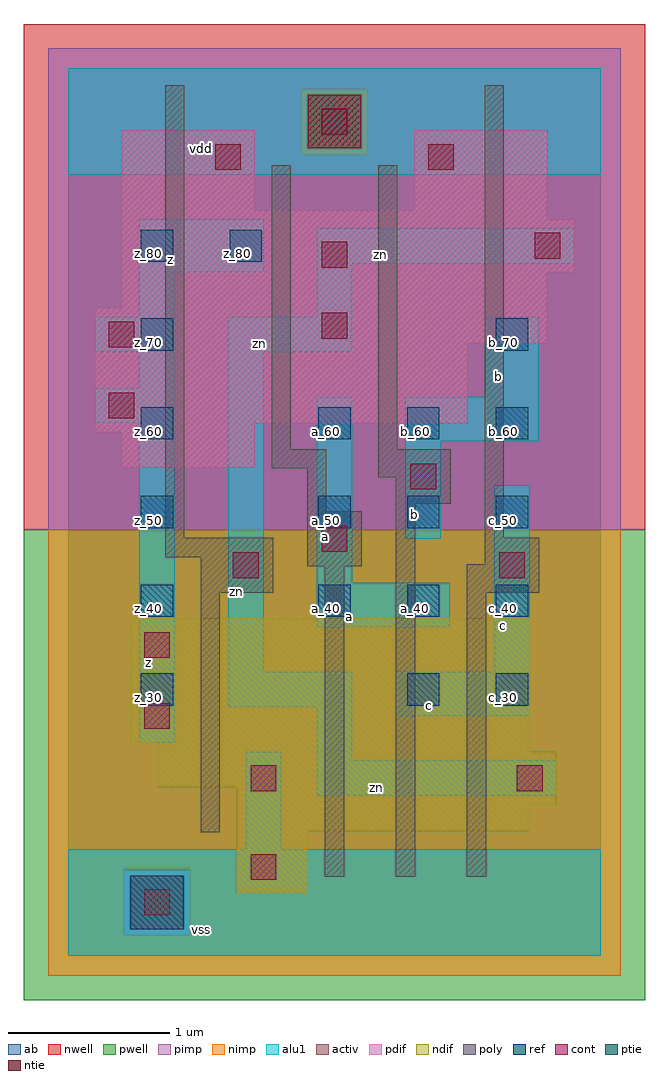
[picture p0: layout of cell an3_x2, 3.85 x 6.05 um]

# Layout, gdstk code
import gdstk
lib = gdstk.Library(unit=1e-6, precision=2.5e-09)
def R(c, l, rs):  # rectangles x0, y0, x1, y1
    for r in rs: c.add(gdstk.rectangle(r[:2], r[2:], *l))
def A(c, l, x, y, w, h, nx, ny, dx, dy):  # array of equal rectangles
    R(c, l, [(x+i*dx, y+j*dy, x+i*dx+w, y+j*dy+h) for i in range(nx) for j in range(ny)])
ndif = (3, 0)
pdif = (4, 0)
ntie = (5, 0)
ptie = (6, 0)
ref = (24, 0)
cont = (25, 0)
pwell = (41, 0)
nwell = (42, 0)
activ = (43, 0)
pimp = (44, 0)
nimp = (45, 0)
poly = (46, 0)
alu1 = (49, 0)
ab = (63, 0)

an3_x2 = lib.new_cell('an3_x2')
R(an3_x2, ndif, [(1.045,0.385,1.485,0.77), (1.045,0.77,2.86,0.935), (1.045,0.935,3.025,1.045), (0.55,1.045,3.025,1.265), (0.55,1.265,2.86,1.32), (0.385,1.32,2.86,2.09)])
R(an3_x2, pdif, [(0.33,3.025,1.155,3.245), (0.165,3.245,1.155,3.3), (0.165,3.3,2.475,3.795), (0.165,3.795,2.97,4.015), (0.33,4.015,2.97,4.235), (0.33,4.235,3.135,4.565), (0.33,4.565,2.97,4.62), (0.33,4.62,1.155,5.115), (2.145,4.62,2.97,5.115)])
R(an3_x2, ntie, [(1.485,5.005,1.815,5.335)])
R(an3_x2, ptie, [(0.385,0.165,0.715,0.495)])
A(an3_x2, ref, 0.45, 1.55, 0.2, 0.2, 1, 6, 0, 0.55)
A(an3_x2, ref, 1.55, 2.1, 0.2, 0.2, 3, 3, 0.55, 0.55)
R(an3_x2, ref, [(2.1,1.55,2.3,1.75), (2.65,1.55,2.85,1.75), (2.65,3.75,2.85,3.95), (1,4.3,1.2,4.5)])
R(an3_x2, cont, [(0.47,0.25,0.63,0.41), (1.13,0.47,1.29,0.63), (1.13,1.02,1.29,1.18), (2.78,1.02,2.94,1.18), (0.47,1.405,0.63,1.565), (0.47,1.845,0.63,2.005), (1.02,2.34,1.18,2.5), (2.67,2.34,2.83,2.5), (1.57,2.505,1.73,2.665), (2.12,2.89,2.28,3.05), (0.25,3.33,0.41,3.49), (0.25,3.77,0.41,3.93), (1.57,3.825,1.73,3.985), (1.57,4.265,1.73,4.425), (2.89,4.32,3.05,4.48), (0.91,4.87,1.07,5.03), (2.23,4.87,2.39,5.03), (1.57,5.09,1.73,5.25)])
R(an3_x2, pwell, [(-0.275,-0.275,3.575,2.64)])
R(an3_x2, nwell, [(-0.275,2.64,3.575,5.775)])
R(an3_x2, activ, [(0.385,0.165,0.715,0.495), (1.045,0.385,1.485,0.77), (1.045,0.77,2.86,0.935), (1.045,0.935,3.025,1.045), (0.55,1.045,3.025,1.265), (0.55,1.265,2.86,1.32), (0.385,1.32,2.86,2.09), (0.33,3.025,1.155,3.245), (0.165,3.245,1.155,3.3), (0.165,3.3,2.475,3.795), (0.165,3.795,2.97,4.015), (0.33,4.015,2.97,4.235), (0.33,4.235,3.135,4.565), (0.33,4.565,2.97,4.62), (0.33,4.62,1.155,5.115), (2.145,4.62,2.97,5.115), (1.485,5.005,1.815,5.335)])
R(an3_x2, pimp, [(0.345,0.125,0.755,0.535), (-0.125,2.64,3.425,4.965), (-0.125,4.965,1.445,5.375), (1.855,4.965,3.425,5.375), (-0.125,5.375,3.425,5.625)])
R(an3_x2, nimp, [(-0.125,-0.125,3.425,0.125), (-0.125,0.125,0.345,0.535), (0.755,0.125,3.425,0.535), (-0.125,0.535,3.425,2.64), (1.445,4.965,1.855,5.375)])
R(an3_x2, poly, [(1.59,0.49,1.71,2.415), (2.03,0.49,2.15,2.8), (2.47,0.49,2.59,2.25), (0.82,0.765,0.94,2.25), (0.82,2.25,1.27,2.47), (2.47,2.25,2.92,2.425), (1.48,2.415,1.82,2.755), (2.58,2.425,2.92,2.59), (0.6,2.47,1.27,2.59), (0.6,2.59,0.72,5.395), (2.58,2.59,2.7,5.395), (1.48,2.755,1.6,3.02), (2.03,2.8,2.37,2.965), (1.92,2.965,2.37,3.14), (1.26,3.02,1.6,3.14), (1.26,3.14,1.38,4.9), (1.92,3.14,2.04,4.9)])
R(an3_x2, alu1, [(0,0,3.3,0.66), (1.1,0.66,1.32,1.265), (1.54,0.99,3.025,1.21), (1.54,1.21,1.76,1.54), (0.44,1.32,0.66,3.3), (2.035,1.485,2.86,1.76), (0.99,1.54,1.76,1.76), (0.99,1.76,1.21,3.74), (2.64,1.76,2.86,2.915), (1.54,2.035,2.365,2.31), (1.54,2.31,1.76,3.465), (2.09,2.585,2.31,3.19), (2.09,3.19,2.915,3.465), (0.165,3.3,0.66,3.52), (2.585,3.465,2.915,3.96), (0.44,3.52,0.66,3.74), (0.165,3.74,0.66,3.96), (0.99,3.74,1.76,3.96), (0.44,3.96,0.66,4.235), (1.54,3.96,1.76,4.29), (0.44,4.235,1.21,4.565), (1.54,4.29,3.135,4.51), (0,4.84,3.3,5.5)])
R(an3_x2, ab, [(0,0,3.3,5.5)])
an3_x2.add(gdstk.Label('vss', (0.825,0.165), layer=49, texttype=0))
an3_x2.add(gdstk.Label('zn', (1.91,1.045), layer=49, texttype=0))
an3_x2.add(gdstk.Label('c', (2.24,1.5525), layer=49, texttype=0))
an3_x2.add(gdstk.Label('c', (2.695,2.0475), layer=49, texttype=0))
an3_x2.add(gdstk.Label('a', (1.745,2.1025), layer=49, texttype=0))
an3_x2.add(gdstk.Label('b', (2.145,2.735), layer=49, texttype=0))
an3_x2.add(gdstk.Label('a', (1.595,2.5975), layer=49, texttype=0))
an3_x2.add(gdstk.Label('b', (2.6675,3.5875), layer=49, texttype=0))
an3_x2.add(gdstk.Label('zn', (1.045,2.255), layer=49, texttype=0))
an3_x2.add(gdstk.Label('zn', (1.1825,3.795), layer=49, texttype=0))
an3_x2.add(gdstk.Label('z', (0.495,1.815), layer=49, texttype=0))
an3_x2.add(gdstk.Label('zn', (1.9375,4.345), layer=49, texttype=0))
an3_x2.add(gdstk.Label('z', (0.6325,4.3175), layer=49, texttype=0))
an3_x2.add(gdstk.Label('vdd', (0.825,5.005), layer=49, texttype=0))
an3_x2.add(gdstk.Label('z_50', (0.5,2.7), layer=24, texttype=0))
an3_x2.add(gdstk.Label('z_60', (0.5,3.25), layer=24, texttype=0))
an3_x2.add(gdstk.Label('z_40', (0.5,2.15), layer=24, texttype=0))
an3_x2.add(gdstk.Label('z_70', (0.5,3.8), layer=24, texttype=0))
an3_x2.add(gdstk.Label('z_30', (0.5,1.6), layer=24, texttype=0))
an3_x2.add(gdstk.Label('b_50', (2.15,2.7), layer=24, texttype=0))
an3_x2.add(gdstk.Label('c_50', (2.7,2.7), layer=24, texttype=0))
an3_x2.add(gdstk.Label('c_40', (2.7,2.15), layer=24, texttype=0))
an3_x2.add(gdstk.Label('a_60', (1.6,3.25), layer=24, texttype=0))
an3_x2.add(gdstk.Label('a_50', (1.6,2.7), layer=24, texttype=0))
an3_x2.add(gdstk.Label('b_60', (2.7,3.25), layer=24, texttype=0))
an3_x2.add(gdstk.Label('b_60', (2.15,3.25), layer=24, texttype=0))
an3_x2.add(gdstk.Label('c_30', (2.15,1.6), layer=24, texttype=0))
an3_x2.add(gdstk.Label('c_30', (2.7,1.6), layer=24, texttype=0))
an3_x2.add(gdstk.Label('b_70', (2.7,3.8), layer=24, texttype=0))
an3_x2.add(gdstk.Label('a_40', (1.6,2.15), layer=24, texttype=0))
an3_x2.add(gdstk.Label('a_40', (2.15,2.15), layer=24, texttype=0))
an3_x2.add(gdstk.Label('z_80', (0.5,4.35), layer=24, texttype=0))
an3_x2.add(gdstk.Label('z_80', (1.05,4.35), layer=24, texttype=0))

lib.write_gds('an3_x2.gds')
